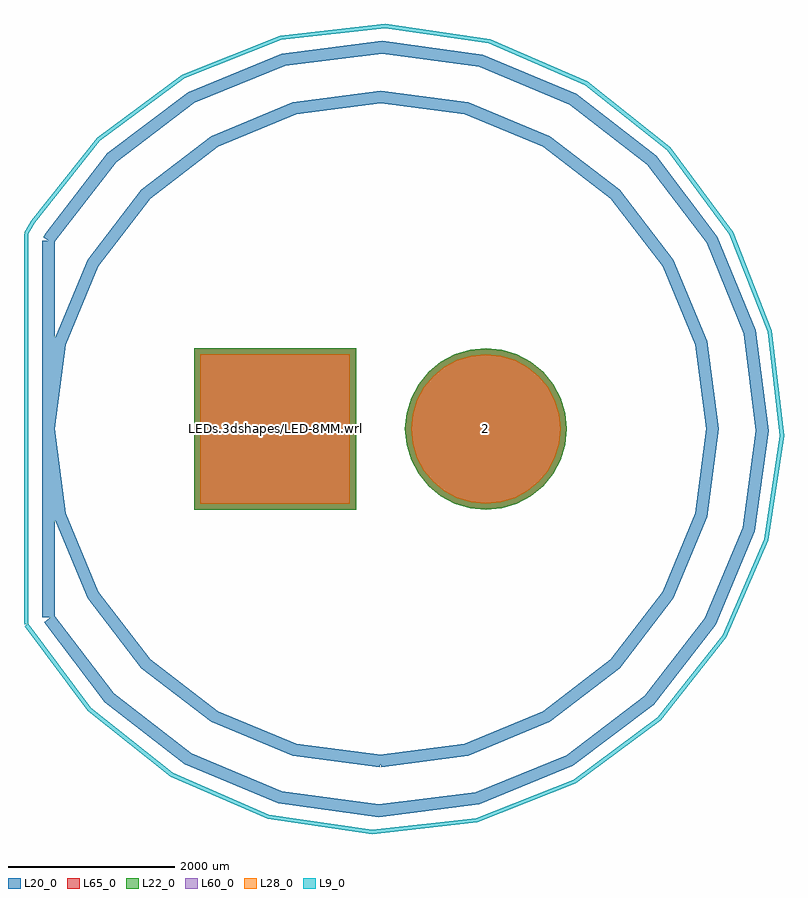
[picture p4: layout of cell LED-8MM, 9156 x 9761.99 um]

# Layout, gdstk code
import gdstk
lib = gdstk.Library(unit=1e-6, precision=1e-09)
def R(c, l, rs):  # rectangles x0, y0, x1, y1
    for r in rs: c.add(gdstk.rectangle(r[:2], r[2:], *l))
def P(c, l, *ps):  # polygons
    for p in ps: c.add(gdstk.Polygon(p, *l))
L9_0 = (9, 0)
L20_0 = (20, 0)
L22_0 = (22, 0)
L28_0 = (28, 0)
L60_0 = (60, 0)
L65_0 = (65, 0)

led_8mm = lib.new_cell('LED-8MM')
R(led_8mm, L22_0, [(-975,-975,975,975)])
P(led_8mm, L22_0, [(3515,0),(3496.266,190.213),(3440.783,373.116),(3350.683,541.681),(3229.429,689.429),(3081.681,810.683),(2913.116,900.783),(2730.213,956.266),(2540,975),(2349.787,956.266),(2166.884,900.783),(1998.319,810.683),(1850.571,689.429),(1729.317,541.681),(1639.217,373.116),(1583.734,190.213),(1565,0),(1583.734,-190.213),(1639.217,-373.116),(1729.317,-541.681),(1850.571,-689.429),(1998.319,-810.683),(2166.884,-900.783),(2349.787,-956.266),(2540,-975),(2730.213,-956.266),(2913.116,-900.783),(3081.681,-810.683),(3229.429,-689.429),(3350.683,-541.681),(3440.783,-373.116),(3496.266,-190.213)])
R(led_8mm, L28_0, [(-900,-900,900,900)])
P(led_8mm, L28_0, [(3440,0),(3422.707,175.581),(3371.492,344.415),(3288.323,500.013),(3176.396,636.396),(3040.013,748.323),(2884.415,831.492),(2715.581,882.707),(2540,900),(2364.419,882.707),(2195.585,831.492),(2039.987,748.323),(1903.604,636.396),(1791.677,500.013),(1708.508,344.415),(1657.293,175.581),(1640,0),(1657.293,-175.581),(1708.508,-344.415),(1791.677,-500.013),(1903.604,-636.396),(2039.987,-748.323),(2195.585,-831.492),(2364.419,-882.707),(2540,-900),(2715.581,-882.707),(2884.415,-831.492),(3040.013,-748.323),(3176.396,-636.396),(3288.323,-500.013),(3371.492,-344.415),(3422.707,-175.581)])
R(led_8mm, L60_0, [(-900,-900,900,900)])
P(led_8mm, L60_0, [(3440,0),(3422.707,175.581),(3371.492,344.415),(3288.323,500.013),(3176.396,636.396),(3040.013,748.323),(2884.415,831.492),(2715.581,882.707),(2540,900),(2364.419,882.707),(2195.585,831.492),(2039.987,748.323),(1903.604,636.396),(1791.677,500.013),(1708.508,344.415),(1657.293,175.581),(1640,0),(1657.293,-175.581),(1708.508,-344.415),(1791.677,-500.013),(1903.604,-636.396),(2039.987,-748.323),(2195.585,-831.492),(2364.419,-882.707),(2540,-900),(2715.581,-882.707),(2884.415,-831.492),(3040.013,-748.323),(3176.396,-636.396),(3288.323,-500.013),(3371.492,-344.415),(3422.707,-175.581)])
R(led_8mm, L65_0, [(-975,-975,975,975)])
P(led_8mm, L65_0, [(3515,0),(3496.266,190.213),(3440.783,373.116),(3350.683,541.681),(3229.429,689.429),(3081.681,810.683),(2913.116,900.783),(2730.213,956.266),(2540,975),(2349.787,956.266),(2166.884,900.783),(1998.319,810.683),(1850.571,689.429),(1729.317,541.681),(1639.217,373.116),(1583.734,190.213),(1565,0),(1583.734,-190.213),(1639.217,-373.116),(1729.317,-541.681),(1850.571,-689.429),(1998.319,-810.683),(2166.884,-900.783),(2349.787,-956.266),(2540,-975),(2730.213,-956.266),(2913.116,-900.783),(3081.681,-810.683),(3229.429,-689.429),(3350.683,-541.681),(3440.783,-373.116),(3496.266,-190.213)])
led_8mm.add(gdstk.FlexPath([(-2724.036,-2280.476),(-1997.712,-3236.503),(-1048.699,-3971.968),(58.33,-4436.75),(1247.932,-4599.175),(2439.038,-4448.173),(3550.476,-3994.036),(4506.503,-3267.712),(5241.968,-2318.699),(5706.75,-1211.67),(5869.175,-22.068),(5718.173,1169.038),(5264.036,2280.476),(4537.712,3236.504),(3588.699,3971.969),(2481.67,4436.75),(1292.068,4599.175),(100.962,4448.174),(-1010.476,3994.036),(-1966.504,3267.712),(-2701.969,2318.699),(-2730,2270)], 149.998, ends="flush", simple_path=True, layer=20, datatype=0))  # L20_0
led_8mm.add(gdstk.FlexPath([(-2995.069,-2358.894),(-2239.895,-3377.221),(-1246.891,-4165.397),(-83.727,-4669.707),(1170.328,-4855.785),(2429.812,-4710.949),(3608.894,-4245.069),(4627.222,-3489.895),(5415.397,-2496.891),(5919.707,-1333.727),(6105.785,-79.672),(5960.949,1179.812),(5495.069,2358.894),(4739.895,3377.222),(3746.891,4165.397),(2583.727,4669.708),(1329.672,4855.785),(70.188,4710.949),(-1108.894,4245.07),(-2127.222,3489.896),(-2915.397,2496.891),(-3000,2350)], 50, ends="flush", simple_path=True, layer=9, datatype=0))  # L9_0
led_8mm.add(gdstk.FlexPath([(1270,-4000),(2305.276,-3863.703),(3270,-3464.102),(4098.427,-2828.427),(4734.102,-2000),(5133.703,-1035.276),(5270,0),(5133.703,1035.276),(4734.102,2000),(4098.427,2828.427),(3270,3464.102),(2305.276,3863.703),(1270,4000),(234.724,3863.703),(-730,3464.102),(-1558.427,2828.427),(-2194.102,2000),(-2593.703,1035.276),(-2730,0),(-2593.703,-1035.276),(-2194.102,-2000),(-1558.427,-2828.427),(-730,-3464.102),(234.724,-3863.703),(1270,-4000)], 149.998, ends="flush", simple_path=True, layer=20, datatype=0))  # L20_0
led_8mm.add(gdstk.FlexPath([(-2730,2270),(-2730,-2270)], 149.998, ends="flush", simple_path=True, layer=20, datatype=0))  # L20_0
led_8mm.add(gdstk.FlexPath([(-3000,2350),(-3000,-2350)], 50, ends="flush", simple_path=True, layer=9, datatype=0))  # L9_0
led_8mm.add(gdstk.Label('LEDs.3dshapes/LED-8MM.wrl', (0,0), layer=12, texttype=0))
led_8mm.add(gdstk.Label('1', (0,0), layer=28, texttype=0))
led_8mm.add(gdstk.Label('2', (2540,0), layer=28, texttype=0))
led_8mm.add(gdstk.Label('type', (1500,-5500), layer=9, texttype=0))
led_8mm.add(gdstk.Label('devicename', (1500,5500), layer=9, texttype=0))

lib.write_gds('LED-8MM.gds')
